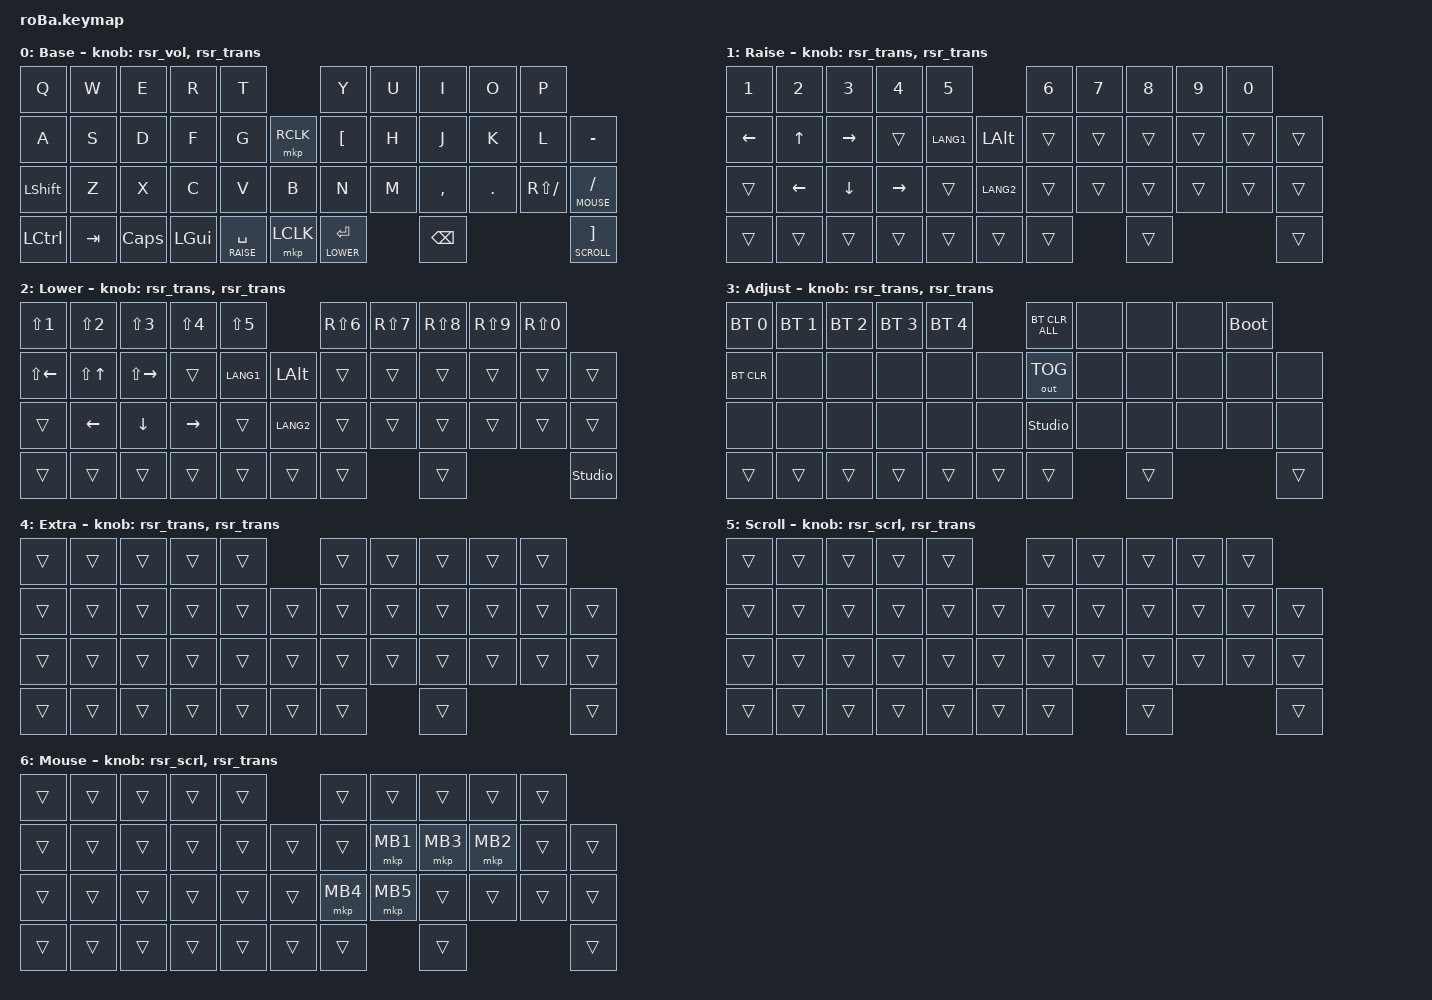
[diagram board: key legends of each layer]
#include <behaviors.dtsi>
#include <dt-bindings/zmk/bt.h>
#include <dt-bindings/zmk/keys.h>
#include <dt-bindings/zmk/outputs.h>
#include <dt-bindings/zmk/pointing.h>
#include <behaviors/runtime-sensor-rotate.dtsi>

#define BASE   0
#define RAISE  1
#define LOWER  2
#define ADJUST 3
#define EXTRA  4
#define SCROLL 5
#define MOUSE  6

&mt {
    flavor = "balanced";
    quick-tap-ms = <0>;
};

&trackball {
    automouse-layer = <MOUSE>;
    scroll-layers = <SCROLL>;
};

/ {
    combos {
        compatible = "zmk,combos";

        tab {
            bindings = <&kp TAB>;
            key-positions = <0 1>;
        };

        ri {
            bindings = <&kp RIGHT_CONTROL>;
            key-positions = <21 20>;
        };

        l1 {
            bindings = <&kp LANGUAGE_1>;
            key-positions = <1 0>;
        };

        lann {
            bindings = <&kp LANGUAGE_2>;
            key-positions = <11 10>;
        };

        cl {
            bindings = <&kp LEFT_CONTROL>;
            key-positions = <14 13>;
        };
    };

    conditional_layers {
        compatible = "zmk,conditional-layers";
        tri_layer {
            if-layers = <RAISE LOWER>;
            then-layer = <ADJUST>;
        };
    };

    behaviors {
        // ロータリーエンコーダー（DYA Studioから変更可。以下は初期値）
        rsr_vol: rsr_vol {
            compatible = "zmk,behavior-runtime-sensor-rotate";
            #sensor-binding-cells = <0>;
            tap-ms = <5>;
            cw-binding = <&kp C_VOL_UP>;
            ccw-binding = <&kp C_VOL_DN>;
        };
        rsr_scrl: rsr_scrl {
            compatible = "zmk,behavior-runtime-sensor-rotate";
            #sensor-binding-cells = <0>;
            tap-ms = <20>;
            cw-binding = <&msc SCRL_DOWN>;
            ccw-binding = <&msc SCRL_UP>;
        };
    };

    keymap {
        compatible = "zmk,keymap";

        default_layer {
            display-name = "Base";
            bindings = <
&kp Q      &kp W   &kp E     &kp R      &kp T                         &kp Y     &kp U  &kp I      &kp O    &kp P
&kp A      &kp S   &kp D     &kp F      &kp G        &mkp RCLK        &kp LBKT  &kp H  &kp J      &kp K    &kp L         &kp MINUS
&kp LSHFT  &kp Z   &kp X     &kp C      &kp V        &kp B            &kp N     &kp M  &kp COMMA  &kp DOT  &kp RS(FSLH)  &lt MOUSE FSLH
&kp LCTRL  &kp TAB &kp CAPS  &kp LGUI   &lt RAISE SPACE  &mkp LCLK    &lt LOWER RET &kp BSPC                             &lt SCROLL RBKT
            >;
            sensor-bindings = <&rsr_vol &rsr_trans>;
        };

        raise_layer {
            display-name = "Raise";
            bindings = <
&kp N1     &kp N2     &kp N3     &kp N4   &kp N5                        &kp N6   &kp N7   &kp N8   &kp N9   &kp N0
&kp LEFT   &kp UP     &kp RIGHT  &trans   &kp LANG1  &kp LALT           &trans   &trans   &trans   &trans   &trans   &trans
&trans     &kp LEFT   &kp DOWN   &kp RIGHT &trans    &kp LANG2          &trans   &trans   &trans   &trans   &trans   &trans
&trans     &trans     &trans     &trans   &trans     &trans             &trans   &trans                               &trans
            >;
            sensor-bindings = <&rsr_trans &rsr_trans>;
        };

        lower_layer {
            display-name = "Lower";
            bindings = <
&kp LS(N1)    &kp LS(N2)  &kp LS(N3)     &kp LS(N4)  &kp LS(N5)                     &kp RS(N6)  &kp RS(N7)  &kp RS(N8)  &kp RS(N9)  &kp RS(N0)
&kp LS(LEFT)  &kp LS(UP)  &kp LS(RIGHT)  &trans      &kp LANG1   &kp LALT           &trans      &trans      &trans      &trans      &trans      &trans
&trans        &kp LEFT    &kp DOWN       &kp RIGHT   &trans      &kp LANG2          &trans      &trans      &trans      &trans      &trans      &trans
&trans        &trans      &trans         &trans      &trans      &trans             &trans      &trans                                          &studio_unlock
            >;
            sensor-bindings = <&rsr_trans &rsr_trans>;
        };

        adjust_layer {
            display-name = "Adjust";
            bindings = <
&bt BT_SEL 0  &bt BT_SEL 1  &bt BT_SEL 2  &bt BT_SEL 3  &bt BT_SEL 4                    &bt BT_CLR_ALL  &none  &none  &none  &bootloader
&bt BT_CLR    &none         &none         &none         &none         &none             &out OUT_TOG    &none  &none  &none  &none  &none
&none         &none         &none         &none         &none         &none             &studio_unlock  &none  &none  &none  &none  &none
&trans        &trans        &trans        &trans        &trans        &trans            &trans          &trans                      &trans
            >;
            sensor-bindings = <&rsr_trans &rsr_trans>;
        };

        extra_layer {
            display-name = "Extra";
            bindings = <
&trans  &trans  &trans  &trans  &trans                  &trans  &trans  &trans  &trans  &trans
&trans  &trans  &trans  &trans  &trans  &trans          &trans  &trans  &trans  &trans  &trans  &trans
&trans  &trans  &trans  &trans  &trans  &trans          &trans  &trans  &trans  &trans  &trans  &trans
&trans  &trans  &trans  &trans  &trans  &trans          &trans  &trans                          &trans
            >;
            sensor-bindings = <&rsr_trans &rsr_trans>;
        };

        scroll_layer {
            display-name = "Scroll";
            bindings = <
&trans  &trans  &trans  &trans  &trans                  &trans  &trans  &trans  &trans  &trans
&trans  &trans  &trans  &trans  &trans  &trans          &trans  &trans  &trans  &trans  &trans  &trans
&trans  &trans  &trans  &trans  &trans  &trans          &trans  &trans  &trans  &trans  &trans  &trans
&trans  &trans  &trans  &trans  &trans  &trans          &trans  &trans                          &trans
            >;
            sensor-bindings = <&rsr_scrl &rsr_trans>;
        };

        mouse_layer {
            display-name = "Mouse";
            bindings = <
&trans  &trans  &trans  &trans  &trans                  &trans    &trans    &trans    &trans  &trans
&trans  &trans  &trans  &trans  &trans  &trans          &trans    &mkp MB1  &mkp MB3  &mkp MB2  &trans  &trans
&trans  &trans  &trans  &trans  &trans  &trans          &mkp MB4  &mkp MB5  &trans    &trans  &trans  &trans
&trans  &trans  &trans  &trans  &trans  &trans          &trans    &trans                        &trans
            >;
            sensor-bindings = <&rsr_scrl &rsr_trans>;
        };
    };
};
